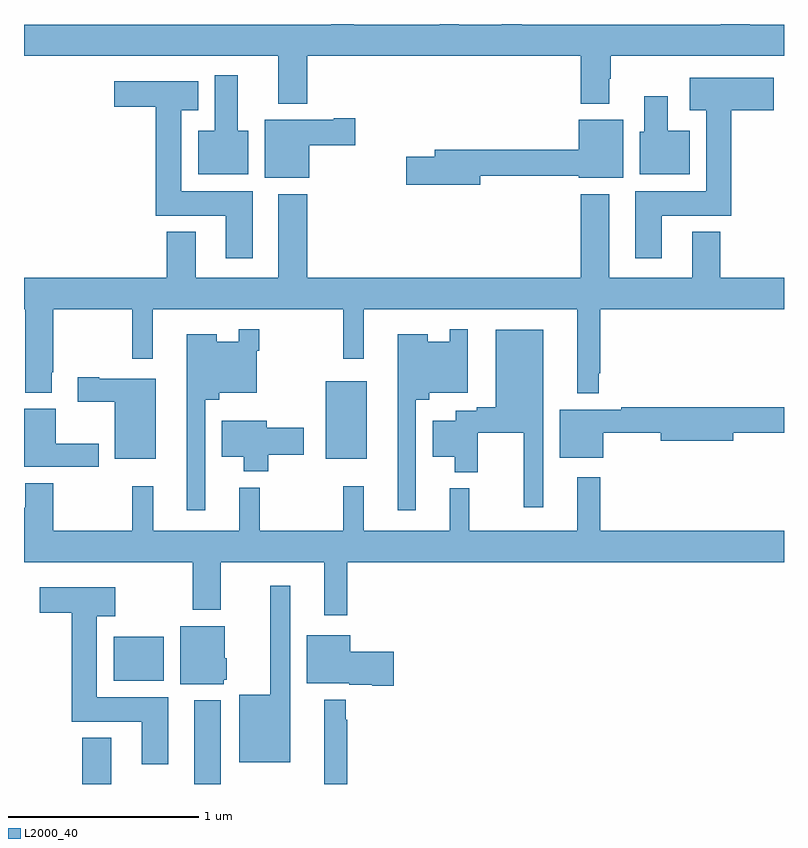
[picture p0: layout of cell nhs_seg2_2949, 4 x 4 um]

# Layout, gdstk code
import gdstk
lib = gdstk.Library(unit=1e-6, precision=1e-09)
def R(c, l, rs):  # rectangles x0, y0, x1, y1
    for r in rs: c.add(gdstk.rectangle(r[:2], r[2:], *l))
def P(c, l, *ps):  # polygons
    for p in ps: c.add(gdstk.Polygon(p, *l))
L2000_40 = (2000, 40)

nhs_seg2_2949 = lib.new_cell('nhs_seg2_2949')
R(nhs_seg2_2949, L2000_40, [(265.307,647.8,265.459,648.043), (265.895,647.8,266.035,648.241), (265.472,648.344,265.735,648.574), (266.588,649.511,266.803,649.921)])
P(nhs_seg2_2949, L2000_40, [(266.492,651.632),(267.929,651.632),(267.929,651.38),(268.081,651.38),(268.081,651.512),(268.089,651.512),(268.089,651.632),(269,651.632),(269,651.796),(268.819,651.796),(268.819,651.8),(268.668,651.8),(268.668,651.796),(267.619,651.796),(267.619,651.8),(267.515,651.8),(267.515,651.796),(267.288,651.796),(267.288,651.8),(267.188,651.8),(267.188,651.796),(266.735,651.796),(266.735,651.8),(266.617,651.8),(266.617,651.796),(265,651.796),(265,651.632),(266.339,651.632),(266.339,651.38),(266.492,651.38)],
  [(266.179,651.238),(266.125,651.238),(266.125,651.529),(266.003,651.529),(266.003,651.238),(265.916,651.238),(265.916,651.008),(266.179,651.008)],
  [(268.357,650.792),(268.722,650.792),(268.722,651.347),(268.945,651.347),(268.945,651.517),(268.505,651.517),(268.505,651.347),(268.592,651.347),(268.592,650.92),(268.217,650.92),(268.217,650.568),(268.357,650.568)],
  [(266.203,650.92),(265.828,650.92),(265.828,651.347),(265.918,651.347),(265.918,651.499),(265.476,651.499),(265.476,651.365),(265.694,651.365),(265.694,650.792),(266.063,650.792),(266.063,650.568),(266.203,650.568)],
  [(268.504,651.238),(268.387,651.238),(268.387,651.421),(268.265,651.421),(268.265,651.234),(268.241,651.234),(268.241,651.008),(268.504,651.008)],
  [(266.5,651.161),(266.743,651.161),(266.743,651.303),(266.63,651.303),(266.63,651.295),(266.267,651.295),(266.267,650.99),(266.5,650.99)],
  [(267.4,651.001),(267.92,651.001),(267.92,650.99),(268.153,650.99),(268.153,651.295),(267.92,651.295),(267.92,651.137),(267.161,651.137),(267.161,651.101),(267.012,651.101),(267.012,650.954),(267.4,650.954)],
  [(268.026,649.963),(268.033,649.963),(268.033,650.3),(269,650.3),(269,650.464),(268.665,650.464),(268.665,650.707),(268.517,650.707),(268.517,650.464),(268.081,650.464),(268.081,650.905),(267.929,650.905),(267.929,650.464),(266.492,650.464),(266.492,650.905),(266.339,650.905),(266.339,650.464),(265.903,650.464),(265.903,650.707),(265.751,650.707),(265.751,650.464),(265,650.464),(265,650.3),(265.007,650.3),(265.007,649.859),(265.147,649.859),(265.147,649.966),(265.155,649.966),(265.155,650.3),(265.569,650.3),(265.569,650.037),(265.678,650.037),(265.678,650.3),(266.679,650.3),(266.679,650.037),(266.788,650.037),(266.788,650.3),(267.911,650.3),(267.911,649.856),(268.026,649.856)],
  [(267.063,649.823),(267.132,649.823),(267.132,649.859),(267.336,649.859),(267.336,650.194),(267.24,650.194),(267.24,650.128),(267.124,650.128),(267.124,650.167),(266.966,650.167),(266.966,649.242),(267.063,649.242)],
  [(265.953,649.823),(266.027,649.823),(266.027,649.859),(266.226,649.859),(266.226,650.081),(266.239,650.081),(266.239,650.194),(266.13,650.194),(266.13,650.128),(266.014,650.128),(266.014,650.167),(265.856,650.167),(265.856,649.242),(265.953,649.242)],
  [(267.733,650.191),(267.482,650.191),(267.482,649.784),(267.384,649.784),(267.384,649.764),(267.272,649.764),(267.272,649.711),(267.152,649.711),(267.152,649.523),(267.266,649.523),(267.266,649.442),(267.388,649.442),(267.388,649.648),(267.629,649.648),(267.629,649.257),(267.733,649.257)],
  [(265.693,649.933),(265.396,649.933),(265.396,649.941),(265.284,649.941),(265.284,649.811),(265.478,649.811),(265.478,649.511),(265.693,649.511)],
  [(268.048,649.648),(268.352,649.648),(268.352,649.606),(268.732,649.606),(268.732,649.648),(269,649.648),(269,649.784),(268.144,649.784),(268.144,649.771),(267.821,649.771),(267.821,649.517),(268.048,649.517)],
  [(265.393,649.591),(265.168,649.591),(265.168,649.774),(265,649.774),(265,649.469),(265.393,649.469)],
  [(266.286,649.534),(266.473,649.534),(266.473,649.676),(266.278,649.676),(266.278,649.711),(266.042,649.711),(266.042,649.523),(266.156,649.523),(266.156,649.445),(266.286,649.445)],
  [(266.701,648.968),(269,648.968),(269,649.132),(268.033,649.132),(268.033,649.414),(267.911,649.414),(267.911,649.132),(267.344,649.132),(267.344,649.357),(267.242,649.357),(267.242,649.132),(266.789,649.132),(266.789,649.366),(266.679,649.366),(266.679,649.132),(266.242,649.132),(266.242,649.36),(266.132,649.36),(266.132,649.132),(265.679,649.132),(265.679,649.366),(265.569,649.366),(265.569,649.132),(265.155,649.132),(265.155,649.384),(265.007,649.384),(265.007,649.253),(265,649.253),(265,648.968),(265.888,648.968),(265.888,648.716),(266.035,648.716),(266.035,648.968),(266.579,648.968),(266.579,648.687),(266.701,648.687)],
  [(266.401,648.844),(266.297,648.844),(266.297,648.271),(266.132,648.271),(266.132,647.915),(266.401,647.915)],
  [(265.759,648.256),(265.384,648.256),(265.384,648.683),(265.48,648.683),(265.48,648.835),(265.083,648.835),(265.083,648.701),(265.25,648.701),(265.25,648.128),(265.619,648.128),(265.619,647.904),(265.759,647.904)],
  [(266.052,648.348),(266.068,648.348),(266.068,648.462),(266.056,648.462),(266.056,648.631),(265.823,648.631),(265.823,648.326),(266.052,648.326)],
  [(266.947,648.495),(266.716,648.495),(266.716,648.583),(266.489,648.583),(266.489,648.329),(266.712,648.329),(266.712,648.323),(266.834,648.323),(266.834,648.317),(266.947,648.317)],
  [(266.701,648.137),(266.693,648.137),(266.693,648.244),(266.579,648.244),(266.579,647.8),(266.701,647.8)])

lib.write_gds('nhs_seg2_2949.gds')
